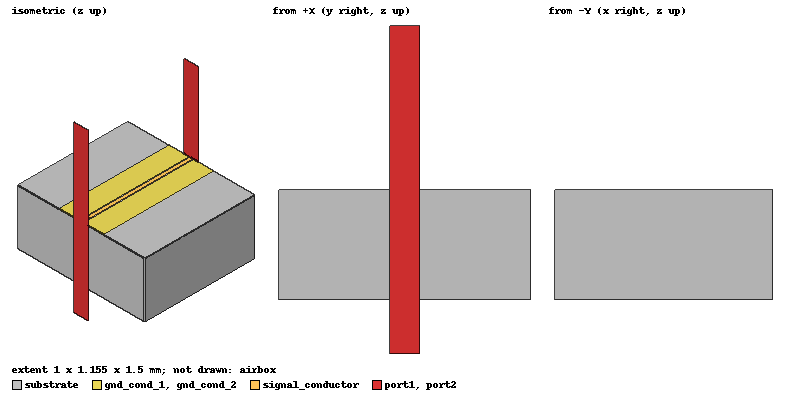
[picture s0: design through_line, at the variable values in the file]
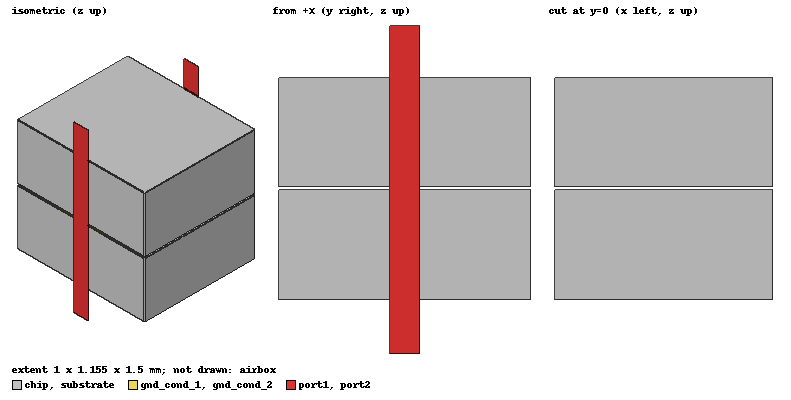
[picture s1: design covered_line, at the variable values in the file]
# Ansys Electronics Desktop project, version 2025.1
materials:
  air: permittivity=1.0006 permeability=1.0000004
  gold: permeability=0.99996 conductivity=41000000
  sapphire: permittivity=9.4 dielectric_loss_tangent=2e-05
  vacuum: permittivity=1

design through_line (HFSS, HFSS Terminal Network, model units mm)
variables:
  subx = 1mm  # optimise 0.25mm..0.75mm
  suby = s + 2*(g+gnd_width) + 750um
  subz = 500um  # optimise 250um..750um
  s = 24.5um  # optimise 12.25um..36.75um
  g = 10.1um  # optimise 5.05um..15.15um
  gnd_width = 180um  # optimise 90um..270um
  Tmet = 2um
  air_box_h = subz + 15000um
  porty = 3*(2*g+s)
  portz = 3*subz
  airx = subx
  airy = suby+15000um
  abpillarx = 20um
  abpillary = 20um
  abpillarz = 4um
  pillarh = 10um  # optimise 5um..15um
  port_elevation = 0um  # optimise 25um..75um
  pillar_h = 0um  # optimise -1um..1um
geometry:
  substrate [sapphire] = box(corner=(-subx/2, -suby/2, 0mm), size=(subx, suby, subz))
  signal_dummy [vacuum, non-model] = substrate.section(plane=ZX)
  signal_dummy.thicken(s, both sides)
  gap_dummy1 [vacuum, non-model] = sweep_along_normal(signal_dummy.face(at (0, -0.01225, 0.25)), length=g)
  gap_dummy2 [vacuum, non-model] = sweep_along_normal(signal_dummy.face(at (0, 0.01225, 0.25)), length=g)
  gnd_dummy1 [vacuum, non-model] = sweep_along_normal(gap_dummy1.face(at (0, -0.02235, 0.25)), length=gnd_width)
  gnd_dummy2 [vacuum, non-model] = sweep_along_normal(gap_dummy2.face(at (0, 0.02235, 0.25)), length=gnd_width)
  signal_conductor [gold] = sweep_along_normal(signal_dummy.face(at (0, 0, 0.5)), length=Tmet)
  gnd_cond_1 [gold] = sweep_along_normal(gnd_dummy1.face(at (0, -0.11235, 0.5)), length=Tmet)
  gnd_cond_2 [gold] = sweep_along_normal(gnd_dummy2.face(at (0, 0.11235, 0.5)), length=Tmet)
  port1 = rectangle(corner=(subx/2, -porty/2, -portz/2+subz+Tmet+pillar_h+port_elevation), y_size=porty, z_size=portz)
  port2 = rectangle(corner=(-subx/2, -porty/2, -portz/2+subz+Tmet+pillar_h+port_elevation), y_size=porty, z_size=portz)
  airbox [air] = box(corner=(-airx/2, -airy/2, -air_box_h/2), size=(airx, airy, air_box_h))
  airbridge1 [gold, non-model] = box(corner=(2mm, 0mm, 0mm), size=(abpillarx, abpillary, abpillarz))
  Box3 = box(corner=(2mm+abpillarx +2*g+s, 0mm, 0mm), size=(abpillarx, abpillary, abpillarz))
  Box4 = box(corner=(2mm, 0.02mm -abpillary, 0.004mm), size=(2*abpillarx +2*g+s, abpillary, 2um))
  airbridge1.unite(Box3, Box4)
  airbridge1.move(-2mm, 0mm, subz+Tmet)
  airbridge1.rotate(axis=Z, angle=90deg)
  airbridge1.move(0.01mm, -0.0785mm, 0mm)
  airbridge3 [gold, non-model] = box(corner=(2mm, 0mm, 0mm), size=(abpillarx, abpillary, abpillarz))
  Box6 = box(corner=(2mm+abpillarx +2*g+s, 0mm, 0mm), size=(abpillarx, abpillary, abpillarz))
  Box7 = box(corner=(2mm, 0.02mm -abpillary, 0.004mm), size=(2*abpillarx +2*g+s, abpillary, 2um))
  airbridge3.unite(Box6, Box7)
  airbridge3.move(-2mm, 0mm, subz+Tmet)
  airbridge3.rotate(axis=Z, angle=90deg)
  airbridge3.move(0.01mm, -0.0785mm, 0mm)
  airbridge2 [gold, non-model] = box(corner=(2mm, 0mm, 0mm), size=(abpillarx, abpillary, abpillarz))
  Box9 = box(corner=(2mm+abpillarx +2*g+s, 0mm, 0mm), size=(abpillarx, abpillary, abpillarz))
  Box10 = box(corner=(2mm, 0.02mm -abpillary, 0.004mm), size=(2*abpillarx +2*g+s, abpillary, 2um))
  airbridge2.unite(Box9, Box10)
  airbridge2.move(-2mm, 0mm, subz+Tmet)
  airbridge2.rotate(axis=Z, angle=90deg)
  airbridge2.move(0.01mm, -0.0785mm, 0mm)
  airbridge2.move(-350um, 0mm, 0mm)
  airbridge3.move(350um, 0mm, 0mm)
  airbridge4 [gold, non-model] = box(corner=(2mm, 0mm, 0mm), size=(abpillarx, abpillary, abpillarz))
  Box11 = box(corner=(2mm+abpillarx +2*g+s, 0mm, 0mm), size=(abpillarx, abpillary, abpillarz))
  Box12 = box(corner=(2mm, 0.02mm -abpillary, 0.004mm), size=(2*abpillarx +2*g+s, abpillary, 2um))
  airbridge4.unite(Box11, Box12)
  airbridge4.move(-2mm, 0mm, subz+Tmet)
  airbridge4.rotate(axis=Z, angle=90deg)
  airbridge4.move(0.01mm, -0.0785mm, 0mm)
  airbridge5 [gold, non-model] = box(corner=(2mm, 0mm, 0mm), size=(abpillarx, abpillary, abpillarz))
  Box13 = box(corner=(2mm+abpillarx +2*g+s, 0mm, 0mm), size=(abpillarx, abpillary, abpillarz))
  Box14 = box(corner=(2mm, 0.02mm -abpillary, 0.004mm), size=(2*abpillarx +2*g+s, abpillary, 2um))
  airbridge5.unite(Box13, Box14)
  airbridge5.move(-2mm, 0mm, subz+Tmet)
  airbridge5.rotate(axis=Z, angle=90deg)
  airbridge5.move(0.01mm, -0.0785mm, 0mm)
  airbridge4.move(-700um, 0mm, 0mm)
  airbridge5.move(700um, 0mm, 0mm)
  airbridge6 [gold, non-model] = box(corner=(2mm, 0mm, 0mm), size=(abpillarx, abpillary, abpillarz))
  Box15 = box(corner=(2mm+abpillarx +2*g+s, 0mm, 0mm), size=(abpillarx, abpillary, abpillarz))
  Box16 = box(corner=(2mm, 0.02mm -abpillary, 0.004mm), size=(2*abpillarx +2*g+s, abpillary, 2um))
  airbridge6.unite(Box15, Box16)
  airbridge6.move(-2mm, 0mm, subz+Tmet)
  airbridge6.rotate(axis=Z, angle=90deg)
  airbridge6.move(0.01mm, -0.0785mm, 0mm)
  airbridge6.move(-1050um, 0mm, 0mm)
  airbridge7 [gold, non-model] = box(corner=(2mm, 0mm, 0mm), size=(abpillarx, abpillary, abpillarz))
  Box17 = box(corner=(2mm+abpillarx +2*g+s, 0mm, 0mm), size=(abpillarx, abpillary, abpillarz))
  Box18 = box(corner=(2mm, 0.02mm -abpillary, 0.004mm), size=(2*abpillarx +2*g+s, abpillary, 2um))
  airbridge7.unite(Box17, Box18)
  airbridge7.move(-2mm, 0mm, subz+Tmet)
  airbridge7.rotate(axis=Z, angle=90deg)
  airbridge7.move(0.01mm, -0.0785mm, 0mm)
  airbridge7.move(1050um, 0mm, 0mm)
  chip [sapphire, non-model] = box(corner=(-subx/2, -suby/2, pillarh + 2*Tmet + subz), size=(subx, suby, subz))
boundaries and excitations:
  Rad1: Radiation Faces=airbox.face(-y, +z, -z, +y)
  Rad2: Radiation Faces=airbox.face(+x, -x)
  FiniteCond1: Finite Conductivity Objects=[gnd_cond_2, signal_conductor, gnd_cond_1] UseMaterial Material=gold Roughness=0nm IsInternal
  1: Wave Port Objects=port1 WavePortType=Modal NumModes=1 Modes{Mode1{IntLine{(0.5, 0.01225, 0.502) -> (0.5, 0.02235, 0.502)} CharImp=Zpv}}
  2: Wave Port Objects=port2 WavePortType=Modal NumModes=1 Modes{Mode1{IntLine{(-0.5, 0.01225, 0.502) -> (-0.5, 0.02235, 0.502)} CharImp=Zpv}}
  reference conductors: gnd_cond_1, gnd_cond_2
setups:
  bb_1to50: HfssDriven MultipleAdaptiveFreqsSetup{Low=1GHz High=50GHz} MaxDeltaS=0.02 MaximumPasses=15 MinimumPasses=1 MinimumConvergedPasses=1 PercentRefinement=30 BasisOrder=1 PortAccuracy=0.1 UseABCOnPort DrivenSolverType="Direct Solver"
    sweep interpolating: 1GHz to 50GHz, 1001 points; Type=Interpolating InterpTolerance=0.5 InterpMaxSolns=250 PassivityErrorTolerance=0.0001
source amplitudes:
  1:1: 1V 0deg
  2:1: 0V 0deg
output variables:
  Zo = 50*(1 + re(St(signal_conductor_T1,signal_conductor_T1)))/(1-re(St(signal_conductor_T1,signal_conductor_T1)))
  lost_power_fraction = 1-(mag(St(1,1))^2 + mag(St(2,1))^2)
  Zl = mag(Zo(1))*(1-mag(S(1,1)))/(1+mag(S(1,1)))
  L = -im(1/Yt(1,2))/(2*3.14*Freq)
  C_chip = (im(Y(1,1) + Y(2,1)) )/ (2 * pi * Freq)
  C_sub = (im(Y(2,2) + Y(2,1)) )/ (2 * pi * Freq)
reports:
  Terminal S11 Parameter Plot1: dB(St(1,1)) vs Freq on bb_1to50 : interpolating [s=24.5um]
  Terminal S21 Parameter Plot2: dB(St(2,1)) vs Freq on bb_1to50 : interpolating
  Port Zo modal  Plot1: re(Zo(1)) vs Freq on bb_1to50 : interpolating [s=all]; markers MY1 at y=50
  lost_power_fraction: lost_power_fraction vs Freq on bb_1to50 : interpolating [s=24.5um]
  Output Variables Plot1: L vs Freq on bb_1to50 : interpolating; markers m1 at 5GHz, m2 at 7GHz
  Output Variables Plot2: C_chip vs Freq on bb_1to50 : interpolating; markers m1 at 5GHz, m2 at 7GHz
  Output Variables Plot3: C_sub vs Freq on bb_1to50 : interpolating; markers m1 at 5GHz, m2 at 7GHz

design transition_modelling (HFSS, HFSS Terminal Network, model units mm)
options: Calculate_Lossy_Dielectrics
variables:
  subx = 1mm
  suby = 1.5mm
  subz = 0.5mm
  signal = 24.5um  # optimise 12.25um..36.75um; tune 12.25um..36.75um
  gap = 10.12um  # optimise 5.06um..15.18um; tune 5.06um..15.18um
  gnd_width = 180um
  Tmet = 2um
  mask_align_tol = 5um  # optimise 2.5um..7.5um; tune 2.5um..7.5um
  gpillar_r = 5um  # optimise 5um..15um; tune 5um..15um
  spillar_r = gpillar_r
  pillar_h = 10um  # optimise 5um..15um; tune 5um..15um
  bonder_tol = 5um  # optimise 2.5um..7.5um; tune 2.5um..7.5um
  trace_overlap = mask_align_tol+2*gpillar_r+bonder_tol
  dielectric_overlap = 0.2mm  # optimise 0.5mm..1.5mm; tune 0.5mm..1.5mm
  porty = 3*(2*gap+signal)
  portz = 2*subz
  airx = subx
  airy = suby + 15000um
  airz = 2*subz + 15000um
  port_elevation = 0um
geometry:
  substrate [sapphire] = box(corner=(-subx/2, -suby/2, 0mm), size=(subx, suby, subz))
  substrate_signal_dummy [sapphire, non-model] = substrate.section(plane=ZX)
  substrate_signal_dummy.thicken(signal, both sides)
  substrate_gap1_dummy [sapphire, non-model] = sweep_along_normal(substrate_signal_dummy.face(at (0, -0.01225, 0.25)), length=gap)
  substrate_gnd1_dummy [sapphire, non-model] = sweep_along_normal(substrate_gap1_dummy.face(at (0, -0.02237, 0.25)), length=gnd_width)
  substrate_gap2_dummy [sapphire, non-model] = sweep_along_normal(substrate_signal_dummy.face(at (0, 0.01225, 0.25)), length=gap)
  substrate_gnd2_dummy [sapphire, non-model] = sweep_along_normal(substrate_gap2_dummy.face(at (0, 0.02237, 0.25)), length=gnd_width)
  [substrate_signal_dummy, substrate_gap1_dummy, substrate_gnd1_dummy, substrate_gap2_dummy, substrate_gnd2_dummy].split(plane=YZ, keep=PositiveOnly)
  gnd_2 [gold] = sweep_along_normal(substrate_gnd2_dummy.face(at (0.25, 0.11237, 0.5)), length=Tmet)
  signal [gold] = sweep_along_normal(substrate_signal_dummy.face(at (0.25, 0, 0.5)), length=Tmet)
  gnd_1 [gold] = sweep_along_normal(substrate_gnd1_dummy.face(at (0.25, -0.11237, 0.5)), length=Tmet)
  Cylinder1 [gold] = cylinder(axis=Z, base_centre=(mask_align_tol+gpillar_r, -signal/2-gap-gnd_width/2, subz+Tmet), radius=gpillar_r, height=pillar_h)
  Cylinder1_1 [gold] = Cylinder1.duplicate_mirror(point=(0mm, 0mm, 0mm), normal=(0mm, 2*gap+signal+gnd_width +2*gpillar_r, 0mm))
  Cylinder2 [gold] = cylinder(axis=Z, base_centre=(mask_align_tol +spillar_r, 0, subz+Tmet), radius=gpillar_r, height=pillar_h)
  chip [sapphire] = box(corner=(-subx/2, -suby/2, subz+2*Tmet+pillar_h), size=(subx, suby, subz))
  chip.split(plane=YZ, keep=NegativeOnly)
  Port2 = rectangle(corner=(-subx/2, -porty/2, -portz/2+subz+Tmet+pillar_h+port_elevation), y_size=porty, z_size=portz)
  Port1 = Port2.duplicate_mirror(point=(0mm, 0mm, pillar_h), normal=(subx, 0mm, 0mm))
  trace_overlap [sapphire] = sweep_along_normal(chip.face(at (0, 0, 0.764)), length=trace_overlap)
  trace_overlap_signal_dummy [sapphire, non-model] = trace_overlap.section(plane=ZX)
  chip_signal_dummy [sapphire, non-model] = chip.section(plane=ZX)
  [trace_overlap_signal_dummy, chip_signal_dummy].thicken(signal, both sides)
  chip_gap1_dummy [sapphire, non-model] = sweep_along_normal(chip_signal_dummy.face(at (-0.25, -0.01225, 0.764)), length=gap)
  trace_overlap_gap1_dummy [sapphire, non-model] = sweep_along_normal(trace_overlap_signal_dummy.face(at (0.01, -0.01225, 0.764)), length=gap)
  chip_gap2_dummy [sapphire, non-model] = sweep_along_normal(chip_signal_dummy.face(at (-0.25, 0.01225, 0.764)), length=gap)
  trace_overlap_gap2_dummy [sapphire, non-model] = sweep_along_normal(trace_overlap_signal_dummy.face(at (0.01, 0.01225, 0.764)), length=gap)
  trace_overlap_gnd1_dummy [sapphire, non-model] = sweep_along_normal(trace_overlap_gap1_dummy.face(at (0.01, -0.02237, 0.764)), length=gnd_width)
  chip_gnd1_dummy [sapphire, non-model] = sweep_along_normal(chip_gap1_dummy.face(at (-0.25, -0.02237, 0.764)), length=gnd_width)
  chip_gnd2_dummy [sapphire, non-model] = sweep_along_normal(chip_gap2_dummy.face(at (-0.25, 0.02237, 0.764)), length=gnd_width)
  trace_overlap_gnd2_dummy [sapphire, non-model] = sweep_along_normal(trace_overlap_gap2_dummy.face(at (0.01, 0.02237, 0.764)), length=gnd_width)
  chip_Section1_SweepFaceAlongNormal3 [gold] = sweep_along_normal(chip_signal_dummy.face(at (-0.25, 0, 0.514)), length=Tmet)
  chip_SweepFaceAlongNormal1_Section1_SweepFaceAlongNormal3 [gold] = sweep_along_normal(trace_overlap_signal_dummy.face(at (0.01, 0, 0.514)), length=Tmet)
  chip_Section1_SweepFaceAlongNormal1_SweepFaceAlongNormal1_SweepFaceAlongNormal1 [gold] = sweep_along_normal(chip_gnd1_dummy.face(at (-0.25, -0.11237, 0.514)), length=Tmet)
  chip_SweepFaceAlongNormal1_Section1_SweepFaceAlongNormal1_SweepFaceAlongNormal1_SweepFaceAlongNormal1 [gold] = sweep_along_normal(trace_overlap_gnd1_dummy.face(at (0.01, -0.11237, 0.514)), length=Tmet)
  chip_Section1_SweepFaceAlongNormal2_SweepFaceAlongNormal1_SweepFaceAlongNormal1 [gold] = sweep_along_normal(chip_gnd2_dummy.face(at (-0.25, 0.11237, 0.514)), length=Tmet)
  chip_SweepFaceAlongNormal1_Section1_SweepFaceAlongNormal2_SweepFaceAlongNormal1_SweepFaceAlongNormal1 [gold] = sweep_along_normal(trace_overlap_gnd2_dummy.face(at (0.01, 0.11237, 0.514)), length=Tmet)
  Box1 [air] = box(corner=(-airx/2, -airy/2, -airz/2), size=(airx, airy, airz))
  dielectric_overlap [sapphire] = sweep_along_normal(trace_overlap.face(at (0.02, 0, 0.764)), length=dielectric_overlap)
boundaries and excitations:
  Rad1: Radiation Objects=Box1
  FiniteCond1: Finite Conductivity Objects=[chip_Section1_SweepFaceAlongNormal1_SweepFaceAlongNormal1_SweepFaceAlongNormal1, chip_Section1_SweepFaceAlongNormal2_SweepFaceAlongNormal1_SweepFaceAlongNormal1, chip_Section1_SweepFaceAlongNormal3, chip_SweepFaceAlongNormal1_Section1_SweepFaceAlongNormal1_SweepFaceAlongNormal1_SweepFaceAlongNormal1, chip_SweepFaceAlongNormal1_Section1_SweepFaceAlongNormal2_SweepFaceAlongNormal1_SweepFaceAlongNormal1, chip_SweepFaceAlongNormal1_Section1_SweepFaceAlongNormal3, Cylinder1, Cylinder1_1, Cylinder2, gnd_1, gnd_2, signal] UseMaterial Material=gold Roughness=100nm IsInternal
  1: Wave Port Objects=Port1 WavePortType=Modal NumModes=1 Modes{Mode1{IntLine{(0.5, 0.01225, 0.502) -> (0.5, 0.02237, 0.502)} CharImp=Zpv RenormImp=50ohm}}
  2: Wave Port Objects=Port2 WavePortType=Modal NumModes=1 Modes{Mode1{IntLine{(-0.5, 0.01225, 0.514) -> (-0.5, 0.02237, 0.514)} CharImp=Zpv RenormImp=50ohm}}
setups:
  bb_1to50: HfssDriven MultipleAdaptiveFreqsSetup{Low=1GHz High=50GHz} MaxDeltaS=0.02 MaximumPasses=15 MinimumPasses=1 MinimumConvergedPasses=1 PercentRefinement=30 BasisOrder=1 PortAccuracy=0.1 UseABCOnPort DrivenSolverType="Direct Solver"
    sweep Sweep: 1GHz to 50GHz, 1001 points; Type=Interpolating InterpTolerance=0.5 InterpMaxSolns=250 PassivityErrorTolerance=0.0001
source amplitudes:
  1:1: 1V 0deg
  2:1: 0V 0deg
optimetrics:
  pillar_R: Parametric Sim._Setups=[bb_1to50]
    sweep gpillar_r: LIN 1um 10um 2um
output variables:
  lost_power_fraction = 1-(mag(St(1,1))^2 + mag(St(2,1))^2)
  Zl = mag(Zo(1))*(1-mag(S(1,1)))/(1+mag(S(1,1)))
  L = -im(1/Yt(1,2))/(2*3.14*Freq)
  C_chip = (im(Y(1,1) + Y(2,1)) )/ (2 * pi * Freq)
  C_sub = (im(Y(2,2) + Y(2,1)) )/ (2 * pi * Freq)
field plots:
  Mag_E1: E Field in Box1 on bb_1to50 : LastAdaptive at Freq=30GHz Phase=0deg
  Mag_E2: E Field over chip_Section1_SweepFaceAlongNormal3.face(all 6) on bb_1to50 : LastAdaptive at Freq=30GHz Phase=0deg
  Mag_E3: E Field over Cylinder1.face(all 3) chip_SweepFaceAlongNormal1_Section1_SweepFaceAlongNormal2_SweepFaceAlongNormal1_SweepFaceAlongNormal1.face(all 6) Cylinder1_1.face(all 3) Cylinder2.face(all 3) chip_SweepFaceAlongNormal1_Section1_SweepFaceAlongNormal3.face(all 6) chip_SweepFaceAlongNormal1_Section1_SweepFaceAlongNormal1_SweepFaceAlongNormal1_SweepFaceAlongNormal1.face(all 6) gnd_1.face(all 6) signal.face(all 6) gnd_2.face(all 6) chip_Section1_SweepFaceAlongNormal1_SweepFaceAlongNormal1_SweepFaceAlongNormal1.face(all 6) chip_Section1_SweepFaceAlongNormal2_SweepFaceAlongNormal1_SweepFaceAlongNormal1.face(all 6) on bb_1to50 : LastAdaptive at Freq=30GHz Phase=0deg
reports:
  Terminal S Parameter Plot1: dB(St(1,1)) vs Freq on bb_1to50 : Sweep [gpillar_r=all]
  Terminal S Parameter Plot2: dB(St(2,1)) vs Freq on bb_1to50 : Sweep [gpillar_r=all]
  Output Variables Plot1: lost_power_fraction vs Freq on bb_1to50 : Sweep [gpillar_r=all]
  Output Variables Plot2: L vs Freq on bb_1to50 : Sweep; markers m1 at 5GHz, m2 at 7GHz
  Output Variables Plot3: C_chip vs Freq on bb_1to50 : Sweep; markers m1 at 5GHz, m2 at 7GHz
  Output Variables Plot4: C_sub vs Freq on bb_1to50 : Sweep; markers m1 at 5GHz, m2 at 7GHz

design covered_line (HFSS, HFSS Terminal Network, model units mm)
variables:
  subx = 1mm  # optimise 0.25mm..0.75mm
  suby = s + 2*(g+gnd_width) + 750um
  subz = 500um  # optimise 250um..750um
  s = 24.5um  # optimise 12.25um..36.75um
  g = 10.1um  # optimise 5.05um..15.15um
  gnd_width = 180um  # optimise 90um..270um
  Tmet = 2um
  air_box_h = subz + 15000um
  porty = 3*(2*g+s)
  portz = 3*subz
  airx = subx
  airy = suby+15000um
  abpillarx = 20um
  abpillary = 20um
  abpillarz = 4um
  pillarh = 10um  # optimise 5um..15um
  port_elevation = 0um  # optimise 25um..75um
  pillar_h = 0um  # optimise -1um..1um
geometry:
  substrate [sapphire] = box(corner=(-subx/2, -suby/2, 0mm), size=(subx, suby, subz))
  signal_dummy [vacuum, non-model] = substrate.section(plane=ZX)
  signal_dummy.thicken(s, both sides)
  gap_dummy1 [vacuum, non-model] = sweep_along_normal(signal_dummy.face(at (0, -0.01225, 0.25)), length=g)
  gap_dummy2 [vacuum, non-model] = sweep_along_normal(signal_dummy.face(at (0, 0.01225, 0.25)), length=g)
  gnd_dummy1 [vacuum, non-model] = sweep_along_normal(gap_dummy1.face(at (0, -0.02235, 0.25)), length=gnd_width)
  gnd_dummy2 [vacuum, non-model] = sweep_along_normal(gap_dummy2.face(at (0, 0.02235, 0.25)), length=gnd_width)
  signal_conductor [gold] = sweep_along_normal(signal_dummy.face(at (0, 0, 0.5)), length=Tmet)
  gnd_cond_1 [gold] = sweep_along_normal(gnd_dummy1.face(at (0, -0.11235, 0.5)), length=Tmet)
  gnd_cond_2 [gold] = sweep_along_normal(gnd_dummy2.face(at (0, 0.11235, 0.5)), length=Tmet)
  port1 = rectangle(corner=(subx/2, -porty/2, -portz/2+subz+Tmet+pillar_h+port_elevation), y_size=porty, z_size=portz)
  port2 = rectangle(corner=(-subx/2, -porty/2, -portz/2+subz+Tmet+pillar_h+port_elevation), y_size=porty, z_size=portz)
  airbox [air] = box(corner=(-airx/2, -airy/2, -air_box_h/2), size=(airx, airy, air_box_h))
  airbridge1 [gold, non-model] = box(corner=(2mm, 0mm, 0mm), size=(abpillarx, abpillary, abpillarz))
  Box3 = box(corner=(2mm+abpillarx +2*g+s, 0mm, 0mm), size=(abpillarx, abpillary, abpillarz))
  Box4 = box(corner=(2mm, 0.02mm -abpillary, 0.004mm), size=(2*abpillarx +2*g+s, abpillary, 2um))
  airbridge1.unite(Box3, Box4)
  airbridge1.move(-2mm, 0mm, subz+Tmet)
  airbridge1.rotate(axis=Z, angle=90deg)
  airbridge1.move(0.01mm, -0.0785mm, 0mm)
  airbridge3 [gold, non-model] = box(corner=(2mm, 0mm, 0mm), size=(abpillarx, abpillary, abpillarz))
  Box6 = box(corner=(2mm+abpillarx +2*g+s, 0mm, 0mm), size=(abpillarx, abpillary, abpillarz))
  Box7 = box(corner=(2mm, 0.02mm -abpillary, 0.004mm), size=(2*abpillarx +2*g+s, abpillary, 2um))
  airbridge3.unite(Box6, Box7)
  airbridge3.move(-2mm, 0mm, subz+Tmet)
  airbridge3.rotate(axis=Z, angle=90deg)
  airbridge3.move(0.01mm, -0.0785mm, 0mm)
  airbridge2 [gold, non-model] = box(corner=(2mm, 0mm, 0mm), size=(abpillarx, abpillary, abpillarz))
  Box9 = box(corner=(2mm+abpillarx +2*g+s, 0mm, 0mm), size=(abpillarx, abpillary, abpillarz))
  Box10 = box(corner=(2mm, 0.02mm -abpillary, 0.004mm), size=(2*abpillarx +2*g+s, abpillary, 2um))
  airbridge2.unite(Box9, Box10)
  airbridge2.move(-2mm, 0mm, subz+Tmet)
  airbridge2.rotate(axis=Z, angle=90deg)
  airbridge2.move(0.01mm, -0.0785mm, 0mm)
  airbridge2.move(-350um, 0mm, 0mm)
  airbridge3.move(350um, 0mm, 0mm)
  airbridge4 [gold, non-model] = box(corner=(2mm, 0mm, 0mm), size=(abpillarx, abpillary, abpillarz))
  Box11 = box(corner=(2mm+abpillarx +2*g+s, 0mm, 0mm), size=(abpillarx, abpillary, abpillarz))
  Box12 = box(corner=(2mm, 0.02mm -abpillary, 0.004mm), size=(2*abpillarx +2*g+s, abpillary, 2um))
  airbridge4.unite(Box11, Box12)
  airbridge4.move(-2mm, 0mm, subz+Tmet)
  airbridge4.rotate(axis=Z, angle=90deg)
  airbridge4.move(0.01mm, -0.0785mm, 0mm)
  airbridge5 [gold, non-model] = box(corner=(2mm, 0mm, 0mm), size=(abpillarx, abpillary, abpillarz))
  Box13 = box(corner=(2mm+abpillarx +2*g+s, 0mm, 0mm), size=(abpillarx, abpillary, abpillarz))
  Box14 = box(corner=(2mm, 0.02mm -abpillary, 0.004mm), size=(2*abpillarx +2*g+s, abpillary, 2um))
  airbridge5.unite(Box13, Box14)
  airbridge5.move(-2mm, 0mm, subz+Tmet)
  airbridge5.rotate(axis=Z, angle=90deg)
  airbridge5.move(0.01mm, -0.0785mm, 0mm)
  airbridge4.move(-700um, 0mm, 0mm)
  airbridge5.move(700um, 0mm, 0mm)
  airbridge6 [gold, non-model] = box(corner=(2mm, 0mm, 0mm), size=(abpillarx, abpillary, abpillarz))
  Box15 = box(corner=(2mm+abpillarx +2*g+s, 0mm, 0mm), size=(abpillarx, abpillary, abpillarz))
  Box16 = box(corner=(2mm, 0.02mm -abpillary, 0.004mm), size=(2*abpillarx +2*g+s, abpillary, 2um))
  airbridge6.unite(Box15, Box16)
  airbridge6.move(-2mm, 0mm, subz+Tmet)
  airbridge6.rotate(axis=Z, angle=90deg)
  airbridge6.move(0.01mm, -0.0785mm, 0mm)
  airbridge6.move(-1050um, 0mm, 0mm)
  airbridge7 [gold, non-model] = box(corner=(2mm, 0mm, 0mm), size=(abpillarx, abpillary, abpillarz))
  Box17 = box(corner=(2mm+abpillarx +2*g+s, 0mm, 0mm), size=(abpillarx, abpillary, abpillarz))
  Box18 = box(corner=(2mm, 0.02mm -abpillary, 0.004mm), size=(2*abpillarx +2*g+s, abpillary, 2um))
  airbridge7.unite(Box17, Box18)
  airbridge7.move(-2mm, 0mm, subz+Tmet)
  airbridge7.rotate(axis=Z, angle=90deg)
  airbridge7.move(0.01mm, -0.0785mm, 0mm)
  airbridge7.move(1050um, 0mm, 0mm)
  chip [sapphire] = box(corner=(-subx/2, -suby/2, pillarh + 2*Tmet + subz), size=(subx, suby, subz))
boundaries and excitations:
  Rad1: Radiation Faces=airbox.face(-y, +z, -z, +y)
  Rad2: Radiation Faces=airbox.face(+x, -x)
  FiniteCond1: Finite Conductivity Objects=[gnd_cond_2, signal_conductor, gnd_cond_1] UseMaterial Material=gold Roughness=0nm IsInternal
  1: Wave Port Objects=port1 WavePortType=Modal NumModes=1 Modes{Mode1{IntLine{(0.5, 0.01225, 0.502) -> (0.5, 0.02235, 0.502)} CharImp=Zpv}}
  2: Wave Port Objects=port2 WavePortType=Modal NumModes=1 Modes{Mode1{IntLine{(-0.5, 0.01225, 0.502) -> (-0.5, 0.02235, 0.502)} CharImp=Zpv}}
  reference conductors: gnd_cond_1, gnd_cond_2
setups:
  bb_1to50: HfssDriven MultipleAdaptiveFreqsSetup{Low=1GHz High=50GHz} MaxDeltaS=0.02 MaximumPasses=15 MinimumPasses=1 MinimumConvergedPasses=1 PercentRefinement=30 BasisOrder=1 PortAccuracy=0.1 UseABCOnPort DrivenSolverType="Direct Solver"
    sweep interpolating: 1GHz to 50GHz, 1001 points; Type=Interpolating InterpTolerance=0.5 InterpMaxSolns=250 PassivityErrorTolerance=0.0001
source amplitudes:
  1:1: 1V 0deg
  2:1: 0V 0deg
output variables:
  Zo = 50*(1 + re(St(signal_conductor_T1,signal_conductor_T1)))/(1-re(St(signal_conductor_T1,signal_conductor_T1)))
  lost_power_fraction = 1-(mag(St(1,1))^2 + mag(St(2,1))^2)
  Zl = mag(Zo(1))*(1-mag(S(1,1)))/(1+mag(S(1,1)))
  L = -im(1/Yt(1,2))/(2*3.14*Freq)
  C_chip = (im(Y(1,1) + Y(2,1)) )/ (2 * pi * Freq)
  C_sub = (im(Y(2,2) + Y(2,1)) )/ (2 * pi * Freq)
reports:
  Terminal S11 Parameter Plot1: dB(St(1,1)) vs Freq on bb_1to50 : interpolating [s=24.5um]
  Terminal S21 Parameter Plot2: dB(St(2,1)) vs Freq on bb_1to50 : interpolating
  Port Zo modal  Plot1: re(Zo(1)) vs Freq on bb_1to50 : interpolating [s=all]; markers MY1 at y=50
  lost_power_fraction: lost_power_fraction vs Freq on bb_1to50 : interpolating [s=24.5um]
  Output Variables Plot1: L vs Freq on bb_1to50 : interpolating; markers m1 at 5GHz, m2 at 7GHz
  Output Variables Plot2: C_chip vs Freq on bb_1to50 : interpolating; markers m1 at 5GHz, m2 at 7GHz
  Output Variables Plot3: C_sub vs Freq on bb_1to50 : interpolating; markers m1 at 5GHz, m2 at 7GHz
